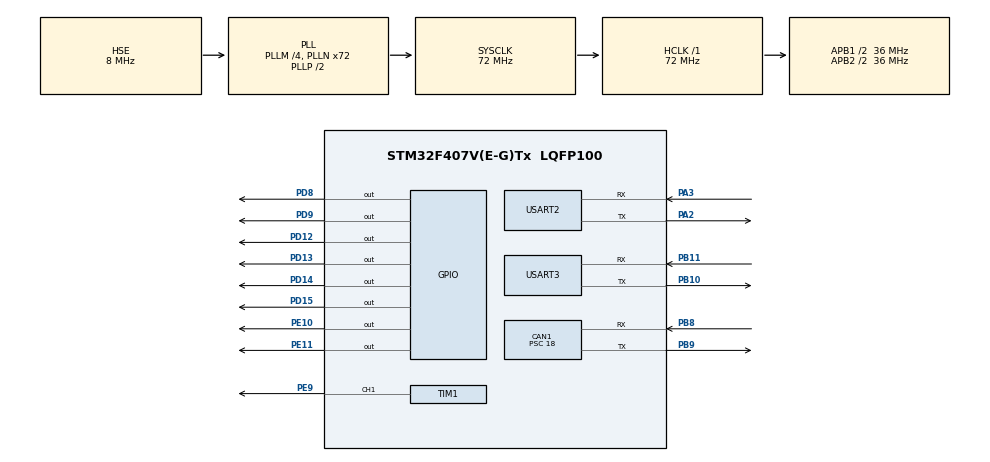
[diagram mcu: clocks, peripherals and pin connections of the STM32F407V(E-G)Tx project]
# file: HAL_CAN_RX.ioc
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CAN1.BS1=CAN_BS1_2TQ
CAN1.CalculateBaudRate=500000
CAN1.CalculateTimeBit=2000
CAN1.CalculateTimeQuantum=500.0
CAN1.Prescaler=18
Mcu.Family=STM32F4
Mcu.Name=STM32F407V(E-G)Tx
Mcu.Package=LQFP100
NVIC.CAN1_RX0_IRQn=true\:0\:0\:false\:false\:true\:true\:true\:true
NVIC.PriorityGroup=NVIC_PRIORITYGROUP_0
PA2.Mode=Asynchronous
PA2.Signal=USART2_TX
PA3.Mode=Asynchronous
PA3.Signal=USART2_RX
PB10.Mode=Asynchronous
PB10.Signal=USART3_TX
PB11.Mode=Asynchronous
PB11.Signal=USART3_RX
PB8.Mode=CAN_Activate
PB8.Signal=CAN1_RX
PB9.Mode=CAN_Activate
PB9.Signal=CAN1_TX
PD12.Signal=GPIO_Output
PD13.Signal=GPIO_Output
PD14.Signal=GPIO_Output
PD15.Signal=GPIO_Output
PD8.Signal=GPIO_Output
PD9.Signal=GPIO_Output
PE10.Signal=GPIO_Output
PE11.Signal=GPIO_Output
PE9.Signal=S_TIM1_CH1
PH0-OSC_IN.Mode=HSE-External-Oscillator
PH0-OSC_IN.Signal=RCC_OSC_IN
PH1-OSC_OUT.Mode=HSE-External-Oscillator
PH1-OSC_OUT.Signal=RCC_OSC_OUT
ProjectManager.HeapSize=0x200
ProjectManager.StackSize=0x400
ProjectManager.TargetToolchain=STM32CubeIDE
RCC.48MHZClocksFreq_Value=20571428.57142857
RCC.AHBFreq_Value=72000000
RCC.APB1CLKDivider=RCC_HCLK_DIV2
RCC.APB1Freq_Value=36000000
RCC.APB1TimFreq_Value=72000000
RCC.APB2CLKDivider=RCC_HCLK_DIV2
RCC.APB2Freq_Value=36000000
RCC.APB2TimFreq_Value=72000000
RCC.CortexFreq_Value=72000000
RCC.HCLKFreq_Value=72000000
RCC.HSE_VALUE=8000000
RCC.HSI_VALUE=16000000
RCC.LSE_VALUE=32768
RCC.PLLM=4
RCC.PLLN=72
RCC.PLLQ=7
RCC.PLLSourceVirtual=RCC_PLLSOURCE_HSE
RCC.SYSCLKFreq_VALUE=72000000
RCC.SYSCLKSource=RCC_SYSCLKSOURCE_PLLCLK
RCC.VCOOutputFreq_Value=144000000
SH.S_TIM1_CH1.0=TIM1_CH1,PWM Generation1 CH1
TIM1.AutoReloadPreload=TIM_AUTORELOAD_PRELOAD_ENABLE
TIM1.Channel-PWM\ Generation1\ CH1=TIM_CHANNEL_1
TIM1.Period=100-1
TIM1.Prescaler=16-1
USART2.VirtualMode=VM_ASYNC
USART3.VirtualMode=VM_ASYNC
board=STM32F407G-DISC1

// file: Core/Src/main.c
/* USER CODE BEGIN Header */
/**
  ******************************************************************************
  * @file           : main.c
  * @brief          : Main program body
  ******************************************************************************
  * @attention
  *
  * Copyright (c) 2026 STMicroelectronics.
  * All rights reserved.
  *
  * This software is licensed under terms that can be found in the LICENSE file
  * in the root directory of this software component.
  * If no LICENSE file comes with this software, it is provided AS-IS.
  *
  ******************************************************************************
  */
/* USER CODE END Header */
#include "main.h"

/* USER CODE BEGIN Includes */
#include<stdio.h>
#include<string.h>
/* USER CODE END Includes */

/* USER CODE BEGIN PD */
#define FORWARD 1
#define BACKWARD 0
#define MIN_SPEED 70
#define MAX_SPEED 100
/* USER CODE END PD */

CAN_HandleTypeDef hcan1;

TIM_HandleTypeDef htim1;

UART_HandleTypeDef huart2;
UART_HandleTypeDef huart3;

void SystemClock_Config(void);
static void MX_GPIO_Init(void);
static void MX_CAN1_Init(void);
static void MX_TIM1_Init(void);
static void MX_USART2_UART_Init(void);
static void MX_USART3_UART_Init(void);
/* USER CODE BEGIN PFP */
void MotorStart(void);
void MotorStop(void);
/* USER CODE END PFP */

/* USER CODE BEGIN 0 */
CAN_RxHeaderTypeDef RxHeader;
uint8_t RxData[8];
uint8_t is_data_received;
uint16_t distance;
uint16_t speed;
uint16_t gas;
uint16_t rain;

void HAL_CAN_RxFifo0MsgPendingCallback(CAN_HandleTypeDef *hcan)
{
	if(HAL_CAN_GetRxMessage(hcan, CAN_RX_FIFO0, &RxHeader, RxData) == HAL_OK)
	{
		// process the message
        if (RxHeader.DLC == 6) {
        	is_data_received = 1;
        }
	}
}

void MotorStart(void)
{
		HAL_GPIO_WritePin(GPIOE, GPIO_PIN_10, GPIO_PIN_SET);
		HAL_GPIO_WritePin(GPIOE, GPIO_PIN_11, GPIO_PIN_RESET);
}

void MotorStop(void)
{
	HAL_GPIO_WritePin(GPIOE, GPIO_PIN_10, GPIO_PIN_RESET);
	HAL_GPIO_WritePin(GPIOE, GPIO_PIN_11, GPIO_PIN_RESET);
}

/* USER CODE END 0 */

int main(void)
{

  /* USER CODE BEGIN 1 */

	 char str[256];
	 char *str2 = "      >>>>>>>>>>>>>>>>>>>>>>>>> DATA <<<<<<<<<<<<<<<<<<<<<<<<<\r\n";
  /* USER CODE END 1 */

  /* MCU Configuration--------------------------------------------------------*/

  /* Reset of all peripherals, Initializes the Flash interface and the Systick. */
  HAL_Init();

  /* Configure the system clock */
  SystemClock_Config();

  /* Initialize all configured peripherals */
  MX_GPIO_Init();
  MX_CAN1_Init();
  MX_TIM1_Init();
  MX_USART2_UART_Init();
  MX_USART3_UART_Init();
  /* USER CODE BEGIN 2 */
    HAL_CAN_Start(&hcan1);
    HAL_CAN_ActivateNotification(&hcan1, CAN_IT_RX_FIFO0_MSG_PENDING);
    HAL_TIM_PWM_Start(&htim1, TIM_CHANNEL_1);
    HAL_UART_Transmit(&huart2, (uint8_t *)str2, strlen(str2), HAL_MAX_DELAY);
    HAL_Delay(2000);
  /* USER CODE END 2 */

  /* Infinite loop */
  while (1)
  {

    /* USER CODE BEGIN 3 */

	  if(is_data_received == 1)
	 	 {
	 		 strcpy(str,"---------------------------------------------------------------- \r\n");
	 		 HAL_UART_Transmit(&huart2, (uint8_t *)str, strlen(str), HAL_MAX_DELAY);
	           distance = (uint16_t)RxData[0] << 8 | (uint16_t)RxData[1];
	           uint16_t temperature = (uint16_t)RxData[2] << 8 | (uint16_t)RxData[3];
	           uint8_t gas = RxData[4];   // 0 = No gas, 1 = Gas detected
	           uint8_t rain = RxData[5];

	           //------------------------- ESP8266 ---------------------------------------
	           sprintf(str, "CAN,%d,%d,%d,%d\n", distance, temperature, gas,rain);
	           HAL_UART_Transmit(&huart3, (uint8_t*)str, strlen(str), HAL_MAX_DELAY);

	           //------------------------- Ultrasonic ------------------------------------
	           sprintf(str, " Distance : %d cm \r \n", distance);
	       	   HAL_UART_Transmit(&huart2, (uint8_t *)str, strlen(str), HAL_MAX_DELAY);

	       	   //-------------------------- LM 35 -----------------------------------------
	       	   sprintf(str, "Temperature : %d degree \r \n", temperature);
	       	   HAL_UART_Transmit(&huart2, (uint8_t *)str, strlen(str), HAL_MAX_DELAY);

	       	   //----------------------------- Gas ----------------------------------------
				if(gas)
				{
					 sprintf(str, "Gas Status : GAS DETECTED !!! \r\n");
					 HAL_GPIO_WritePin(GPIOD, GPIO_PIN_15, GPIO_PIN_SET);
				}
				else
				{
					sprintf(str, "Gas Status : No Gas \r\n");
					HAL_GPIO_WritePin(GPIOD, GPIO_PIN_15, GPIO_PIN_RESET);
				}
	            HAL_UART_Transmit(&huart2, (uint8_t *)str, strlen(str), HAL_MAX_DELAY);

	            //--------------------------- Rain ----------------------------------------
	            if(rain)
	            {
	            	sprintf(str, " Rain Status : Rain DETECTED !!! \r\n");
	            	HAL_GPIO_WritePin(GPIOD, GPIO_PIN_9, GPIO_PIN_SET);
	            }
	       		else
	       		{
	       		    sprintf(str, " Rain Status : No Rain \r\n");
	       		    HAL_GPIO_WritePin(GPIOD, GPIO_PIN_9, GPIO_PIN_RESET);
	       		}
	       		HAL_UART_Transmit(&huart2, (uint8_t *)str, strlen(str), HAL_MAX_DELAY);

	       		//---------------------------- Alert --------------------------------------------
	       		/* This Logic is for Emergency Alert signals for LED, Buzzer and motor Stop */
				  if(distance <20)
				  {
					  MotorStop();
					  HAL_GPIO_WritePin(GPIOD, GPIO_PIN_12, GPIO_PIN_SET);
				  }
				  else
				  {
					  MotorStart();
					  HAL_GPIO_WritePin(GPIOD, GPIO_PIN_12, GPIO_PIN_RESET);

				  }

				  if(temperature > 100 )
				  {
					  HAL_GPIO_WritePin(GPIOD, GPIO_PIN_13, GPIO_PIN_SET);
				  }
				  else
				  {
					  HAL_GPIO_WritePin(GPIOD, GPIO_PIN_13,GPIO_PIN_RESET);
				  }

			   HAL_Delay(500);

  }
  /* USER CODE END 3 */
}
}
void SystemClock_Config(void)
{
  RCC_OscInitTypeDef RCC_OscInitStruct = {0};
  RCC_ClkInitTypeDef RCC_ClkInitStruct = {0};

  /** Configure the main internal regulator output voltage
  */
  __HAL_RCC_PWR_CLK_ENABLE();
  __HAL_PWR_VOLTAGESCALING_CONFIG(PWR_REGULATOR_VOLTAGE_SCALE1);

  /** Initializes the RCC Oscillators according to the specified parameters
  * in the RCC_OscInitTypeDef structure.
  */
  RCC_OscInitStruct.OscillatorType = RCC_OSCILLATORTYPE_HSE;
  RCC_OscInitStruct.HSEState = RCC_HSE_ON;
  RCC_OscInitStruct.PLL.PLLState = RCC_PLL_ON;
  RCC_OscInitStruct.PLL.PLLSource = RCC_PLLSOURCE_HSE;
  RCC_OscInitStruct.PLL.PLLM = 4;
  RCC_OscInitStruct.PLL.PLLN = 72;
  RCC_OscInitStruct.PLL.PLLP = RCC_PLLP_DIV2;
  RCC_OscInitStruct.PLL.PLLQ = 7;
  if (HAL_RCC_OscConfig(&RCC_OscInitStruct) != HAL_OK)
  {
    Error_Handler();
  }

  /** Initializes the CPU, AHB and APB buses clocks
  */
  RCC_ClkInitStruct.ClockType = RCC_CLOCKTYPE_HCLK|RCC_CLOCKTYPE_SYSCLK
                              |RCC_CLOCKTYPE_PCLK1|RCC_CLOCKTYPE_PCLK2;
  RCC_ClkInitStruct.SYSCLKSource = RCC_SYSCLKSOURCE_PLLCLK;
  RCC_ClkInitStruct.AHBCLKDivider = RCC_SYSCLK_DIV1;
  RCC_ClkInitStruct.APB1CLKDivider = RCC_HCLK_DIV2;
  RCC_ClkInitStruct.APB2CLKDivider = RCC_HCLK_DIV2;

  if (HAL_RCC_ClockConfig(&RCC_ClkInitStruct, FLASH_LATENCY_2) != HAL_OK)
  {
    Error_Handler();
  }
}

static void MX_CAN1_Init(void)
{

  hcan1.Instance = CAN1;
  hcan1.Init.Prescaler = 18;
  hcan1.Init.Mode = CAN_MODE_NORMAL;
  hcan1.Init.SyncJumpWidth = CAN_SJW_1TQ;
  hcan1.Init.TimeSeg1 = CAN_BS1_2TQ;
  hcan1.Init.TimeSeg2 = CAN_BS2_1TQ;
  hcan1.Init.TimeTriggeredMode = DISABLE;
  hcan1.Init.AutoBusOff = DISABLE;
  hcan1.Init.AutoWakeUp = DISABLE;
  hcan1.Init.AutoRetransmission = DISABLE;
  hcan1.Init.ReceiveFifoLocked = DISABLE;
  hcan1.Init.TransmitFifoPriority = DISABLE;
  if (HAL_CAN_Init(&hcan1) != HAL_OK)
  {
    Error_Handler();
  }
  /* USER CODE BEGIN CAN1_Init 2 */
  CAN_FilterTypeDef FilterConfig;
   //FilterConfig.SlaveStartFilterBank = 9; // CAN1-0 to 8, CAN2-9 to 27
   FilterConfig.FilterActivation = CAN_FILTER_ENABLE;
   FilterConfig.FilterBank = 0; // Use any Filter from 0 to 8
   FilterConfig.FilterScale = CAN_FILTERSCALE_32BIT; // Use a 32-bit filter
   FilterConfig.FilterMode = CAN_FILTERMODE_IDMASK;
   FilterConfig.FilterMaskIdHigh = 0xFF00;
   FilterConfig.FilterMaskIdLow = 0x0000;
   FilterConfig.FilterIdHigh = 0x1500;
   FilterConfig.FilterIdLow = 0x0000;
   FilterConfig.FilterFIFOAssignment = CAN_RX_FIFO0;

   if(HAL_CAN_ConfigFilter(&hcan1, &FilterConfig) != HAL_OK)
 	  Error_Handler();
  /* USER CODE END CAN1_Init 2 */

}

static void MX_TIM1_Init(void)
{

  TIM_MasterConfigTypeDef sMasterConfig = {0};
  TIM_OC_InitTypeDef sConfigOC = {0};
  TIM_BreakDeadTimeConfigTypeDef sBreakDeadTimeConfig = {0};

  htim1.Instance = TIM1;
  htim1.Init.Prescaler = 16-1;
  htim1.Init.CounterMode = TIM_COUNTERMODE_UP;
  htim1.Init.Period = 100-1;
  htim1.Init.ClockDivision = TIM_CLOCKDIVISION_DIV1;
  htim1.Init.RepetitionCounter = 0;
  htim1.Init.AutoReloadPreload = TIM_AUTORELOAD_PRELOAD_ENABLE;
  if (HAL_TIM_PWM_Init(&htim1) != HAL_OK)
  {
    Error_Handler();
  }
  sMasterConfig.MasterOutputTrigger = TIM_TRGO_RESET;
  sMasterConfig.MasterSlaveMode = TIM_MASTERSLAVEMODE_DISABLE;
  if (HAL_TIMEx_MasterConfigSynchronization(&htim1, &sMasterConfig) != HAL_OK)
  {
    Error_Handler();
  }
  sConfigOC.OCMode = TIM_OCMODE_PWM1;
  sConfigOC.Pulse = 0;
  sConfigOC.OCPolarity = TIM_OCPOLARITY_HIGH;
  sConfigOC.OCNPolarity = TIM_OCNPOLARITY_HIGH;
  sConfigOC.OCFastMode = TIM_OCFAST_DISABLE;
  sConfigOC.OCIdleState = TIM_OCIDLESTATE_RESET;
  sConfigOC.OCNIdleState = TIM_OCNIDLESTATE_RESET;
  if (HAL_TIM_PWM_ConfigChannel(&htim1, &sConfigOC, TIM_CHANNEL_1) != HAL_OK)
  {
    Error_Handler();
  }
  sBreakDeadTimeConfig.OffStateRunMode = TIM_OSSR_DISABLE;
  sBreakDeadTimeConfig.OffStateIDLEMode = TIM_OSSI_DISABLE;
  sBreakDeadTimeConfig.LockLevel = TIM_LOCKLEVEL_OFF;
  sBreakDeadTimeConfig.DeadTime = 0;
  sBreakDeadTimeConfig.BreakState = TIM_BREAK_DISABLE;
  sBreakDeadTimeConfig.BreakPolarity = TIM_BREAKPOLARITY_HIGH;
  sBreakDeadTimeConfig.AutomaticOutput = TIM_AUTOMATICOUTPUT_DISABLE;
  if (HAL_TIMEx_ConfigBreakDeadTime(&htim1, &sBreakDeadTimeConfig) != HAL_OK)
  {
    Error_Handler();
  }
  HAL_TIM_MspPostInit(&htim1);

}

static void MX_USART2_UART_Init(void)
{

  huart2.Instance = USART2;
  huart2.Init.BaudRate = 115200;
  huart2.Init.WordLength = UART_WORDLENGTH_8B;
  huart2.Init.StopBits = UART_STOPBITS_1;
  huart2.Init.Parity = UART_PARITY_NONE;
  huart2.Init.Mode = UART_MODE_TX_RX;
  huart2.Init.HwFlowCtl = UART_HWCONTROL_NONE;
  huart2.Init.OverSampling = UART_OVERSAMPLING_16;
  if (HAL_UART_Init(&huart2) != HAL_OK)
  {
    Error_Handler();
  }

}

static void MX_USART3_UART_Init(void)
{

  huart3.Instance = USART3;
  huart3.Init.BaudRate = 115200;
  huart3.Init.WordLength = UART_WORDLENGTH_8B;
  huart3.Init.StopBits = UART_STOPBITS_1;
  huart3.Init.Parity = UART_PARITY_NONE;
  huart3.Init.Mode = UART_MODE_TX_RX;
  huart3.Init.HwFlowCtl = UART_HWCONTROL_NONE;
  huart3.Init.OverSampling = UART_OVERSAMPLING_16;
  if (HAL_UART_Init(&huart3) != HAL_OK)
  {
    Error_Handler();
  }

}

static void MX_GPIO_Init(void)
{
  GPIO_InitTypeDef GPIO_InitStruct = {0};

  /* GPIO Ports Clock Enable */
  __HAL_RCC_GPIOH_CLK_ENABLE();
  __HAL_RCC_GPIOA_CLK_ENABLE();
  __HAL_RCC_GPIOE_CLK_ENABLE();
  __HAL_RCC_GPIOB_CLK_ENABLE();
  __HAL_RCC_GPIOD_CLK_ENABLE();

  /*Configure GPIO pin Output Level */
  HAL_GPIO_WritePin(GPIOE, GPIO_PIN_10|GPIO_PIN_11, GPIO_PIN_RESET);

  /*Configure GPIO pin Output Level */
  HAL_GPIO_WritePin(GPIOD, GPIO_PIN_8|GPIO_PIN_9|GPIO_PIN_12|GPIO_PIN_13
                          |GPIO_PIN_14|GPIO_PIN_15, GPIO_PIN_RESET);

  /*Configure GPIO pins : PE10 PE11 */
  GPIO_InitStruct.Pin = GPIO_PIN_10|GPIO_PIN_11;
  GPIO_InitStruct.Mode = GPIO_MODE_OUTPUT_PP;
  GPIO_InitStruct.Pull = GPIO_NOPULL;
  GPIO_InitStruct.Speed = GPIO_SPEED_FREQ_LOW;
  HAL_GPIO_Init(GPIOE, &GPIO_InitStruct);

  /*Configure GPIO pins : PD8 PD9 PD12 PD13
                           PD14 PD15 */
  GPIO_InitStruct.Pin = GPIO_PIN_8|GPIO_PIN_9|GPIO_PIN_12|GPIO_PIN_13
                          |GPIO_PIN_14|GPIO_PIN_15;
  GPIO_InitStruct.Mode = GPIO_MODE_OUTPUT_PP;
  GPIO_InitStruct.Pull = GPIO_NOPULL;
  GPIO_InitStruct.Speed = GPIO_SPEED_FREQ_LOW;
  HAL_GPIO_Init(GPIOD, &GPIO_InitStruct);

}

void Error_Handler(void)
{
  __disable_irq();
  while (1)
  {
  }
}
